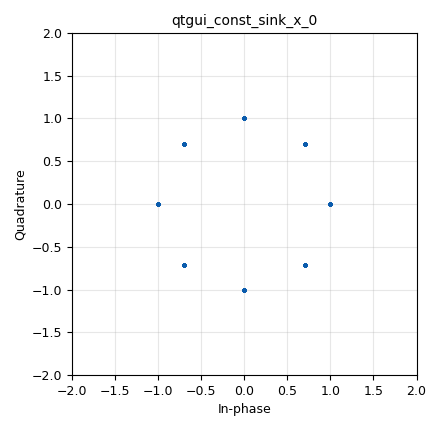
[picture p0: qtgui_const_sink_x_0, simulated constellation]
options:
  parameters:
    generate_options: qt_gui
    id: psk8_flowgraph
    output_language: python
    title: psk8
  states: {}

blocks:
- name: samp_rate
  id: variable
  parameters:
    value: '32000'
  states: {}
- name: blocks_throttle2_0
  id: blocks_throttle2
  parameters:
    samples_per_second: samp_rate
    type: complex
  states: {}
- name: blocks_vector_source_x_0
  id: blocks_vector_source_x
  parameters:
    repeat: 'True'
    type: byte
    vector: (0, 1, 2, 3, 4, 5, 6, 7)
  states: {}
- name: epy_block_0
  id: epy_block
  parameters:
    _source_code: |
      """
      Embedded Python Block - 8-PSK Modulator
      Convertit des symboles (0 à 7) en symboles 8-PSK
      """

      import numpy as np
      from gnuradio import gr

      class blk(gr.sync_block):
          """Bloc de modulation 8-PSK"""

          def __init__(self):
              gr.sync_block.__init__(
                  self,
                  name='8-PSK Modulator',
                  in_sig=[np.uint8],
                  out_sig=[np.complex64]
              )

          def work(self, input_items, output_items):
              """Convertit les symboles en 8-PSK"""
              symbols = input_items[0]
              out = output_items[0]
              
              # 8-PSK : 8 points sur un cercle à 45° d'écart
              constellation = [
                  complex(1.0, 0.0),           # 0 : 0°
                  complex(0.707, 0.707),       # 1 : 45°
                  complex(0.0, 1.0),           # 2 : 90°
                  complex(-0.707, 0.707),      # 3 : 135°
                  complex(-1.0, 0.0),          # 4 : 180°
                  complex(-0.707, -0.707),     # 5 : 225°
                  complex(0.0, -1.0),          # 6 : 270°
                  complex(0.707, -0.707)       # 7 : 315°
              ]
              
              for i in range(len(symbols)):
                  sym = symbols[i] % 8
                  out[i] = constellation[sym]
              
              return len(symbols)
  states: {}
- name: qtgui_const_sink_x_0
  id: qtgui_const_sink_x
  parameters:
    size: '1024'
    type: complex
  states: {}

connections:
- [blocks_throttle2_0, '0', qtgui_const_sink_x_0, '0']
- [blocks_vector_source_x_0, '0', epy_block_0, '0']
- [epy_block_0, '0', blocks_throttle2_0, '0']

metadata:
  file_format: 1
  grc_version: 3.10.12.0
